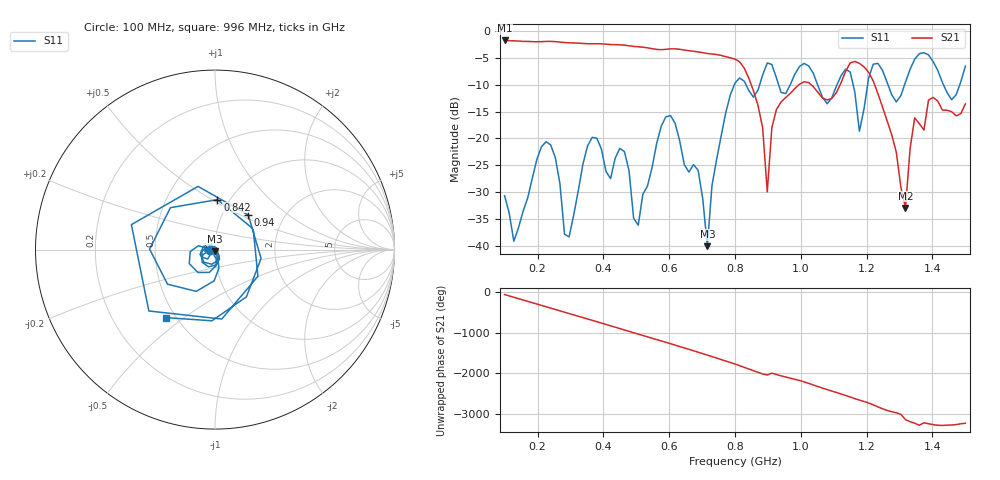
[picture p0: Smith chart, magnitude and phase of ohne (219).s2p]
! NanoVNA-App
! Date: 2025-09-25 14:22:30
! Start: 100MHz Stop: 1,5GHz Points: 101
! S-Parameter data: F S11 S21 S12 S22
# Hz S RI R 50
!  Frequency  S11_Real  S11_Imag  S21_Real  S21_Imag  S12_Real  S12_Imag  S22_Real  S22_Imag
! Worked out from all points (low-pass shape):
!   101 points, 100 MHz to 1.5 GHz, reference 50 ohm
!   highest |S21| = -1.79 dB at 100 MHz (marker M1); lowest = -32.9 dB at 1.318 GHz (marker M2)
!   |S21| within 3 dB of the highest: start of sweep to 771.8 MHz
!   lowest |S11| = -40.0 dB at 716 MHz (marker M3), VSWR 1.02, Z = 49.7 - j0.963 ohm
!   |S11| at or under -10 dB: start of sweep to 798.1 MHz; 833.2 MHz to 875 MHz (41.8 MHz wide, 4.89 % of centre); 1.051 GHz to 1.11 GHz (59.32 MHz wide, 5.49 % of centre) (the widest 3 of 7)
!   S12 and S22 are empty: the file has one direction only
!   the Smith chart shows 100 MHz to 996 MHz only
!   S11 on the Smith chart (normalised r, x): 100 MHz: 0.94, -0.01; 842 MHz: 0.88, +0.53; 940 MHz: 1.32, +0.55; 996 MHz: 0.44, -0.43
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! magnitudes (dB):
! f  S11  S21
! 100 MHz  -30.6  -1.8
! 128 MHz  -39.1  -1.9
! 226 MHz  -20.6  -2.0
! 296 MHz  -38.3  -2.2
! 338 MHz  -24.8  -2.4
! 464 MHz  -22.4  -2.7
! 506 MHz  -36.1  -3.0
! 576 MHz  -17.7  -3.5
! 688 MHz  -25.9  -3.9
! 716 MHz  -40.0  -4.2
! 800 MHz  -9.7  -5.3
! 842 MHz  -11.1  -8.8
! 898 MHz  -6.0  -29.9
! 940 MHz  -11.5  -13.2
! 996 MHz  -6.6  -9.9
! 1.038 GHz  -7.9  -10.4
! 1.178 GHz  -18.7  -6.1
! 1.22 GHz  -6.2  -9.3
! 1.276 GHz  -11.8  -19.3
! 1.318 GHz  -9.5  -32.9
! 1.346 GHz  -5.3  -16.2
! 1.5 GHz  -6.6  -13.6
